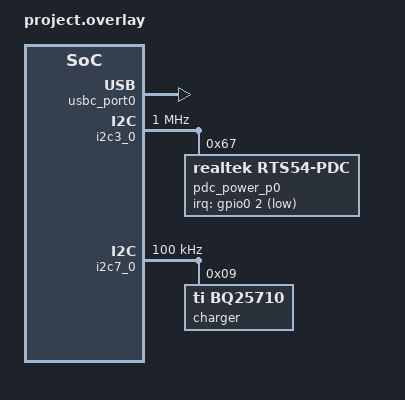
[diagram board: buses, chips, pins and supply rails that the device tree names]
/* Copyright 2024 The ChromiumOS Authors
 * Use of this source code is governed by a BSD-style license that can be
 * found in the LICENSE file.
 */

/* Trulo program common DTS includes */
#include "generated.dtsi"
#include "../cbi.dtsi"
/*#include "../generated.dtsi"*/
#include "../i2c.dtsi"
#include "../power_signals.dtsi"
#include "../trulo.dtsi"
#include "../usba.dtsi"


/* Trulo project DTS includes*/
#include "../trulo/battery.dtsi"
#include "../trulo/cbi.dtsi"
#include "../trulo/gpio.dtsi"
#include "../trulo/i2c.dtsi"
#include "../trulo/fan.dtsi"
#include "../trulo/keyboard.dtsi"
#include "../trulo/led_pins.dtsi"
#include "../trulo/led_policy.dtsi"
#include "../trulo/temp_sensors.dtsi"
/*#include "../trulo/usb_typec.dtsi"*/

#include <dt-bindings/usbc_mux.h>
#include <dt-bindings/usb_pd_tcpm.h>
#include <usbc-policy.dtsi>

/* Trulo overrides follow... */

/ {
	/*
	 * Aliases used for sub-board GPIOs.
	 */
	aliases {
		/*
		 * HPD pins for HDMI sub-board.
		 */
		gpio-hdmi-en-odl = &gpio_sb_3;
		gpio-hpd-odl = &gpio_sb_4;
	};

	named-gpios {
		/*
		 * Set I2C pins for type C sub-board to be low voltage (I2C5_1).
		 * We do this for all boards, since the pins are 3.3V tolerant,
		 * and the only 2 types of sub-boards used on nivviks both have
		 * type-C ports on them.
		 */
		gpio_sb_3: sb-3 {
			gpios = <&gpiof 4 (GPIO_OPEN_DRAIN | GPIO_VOLTAGE_1P8)>;
			no-auto-init;
		};
		gpio_sb_4: sb-4 {
			gpios = <&gpiof 5 (GPIO_INPUT | GPIO_VOLTAGE_1P8)>;
			no-auto-init;
		};
	};

	usbc {
		#address-cells = <1>;
		#size-cells = <0>;
		usbc_port0: port0@0 {
			compatible = "named-usbc-port";
			reg = <0>;
			chg = <&charger>;
			pdc = <&pdc_power_p0>;
			policy = <&cros_policy>;
		};
	};
};

&adc_ec_vsense_pp3300_s5 {
	/*
	 * Voltage divider on input has 47k upper and 220k lower legs with
	 * 2714 mV full-scale reading on the ADC. Apply the largest possible
	 * multiplier (without overflowing int32) to get the best possible
	 * approximation of the actual ratio, but derate by a factor of two to
	 * ensure unexpectedly high values won't overflow.
	 */
	mul = <(791261 / 2)>;
	div = <(651975 / 2)>;
};

/* The eSPI shim requires this GPIO nodelabel */
gpio_en_pp5000_vbus: &gpio_en_usb_a0_vbus {
};


&i2c3_0 {
	label = "I2C_PORT_PD";
	clock-frequency = <I2C_BITRATE_FAST_PLUS>;

	pdc_power_p0: rts54-pdc@67 {
		compatible = "realtek,rts54-pdc";
		reg = <0x67>;
		irq-gpios = <&gpio0 2 GPIO_ACTIVE_LOW>;
	};
};

&i2c7_0 {
	label = "I2C_BATTERY";
	label = "I2C_PORT_CHARGER";

	clock-frequency = <I2C_BITRATE_STANDARD>;
	charger: bq25710@9 {
		compatible = "ti,bq25710";
		status = "okay";
		reg = <0x9>;
	};
};
